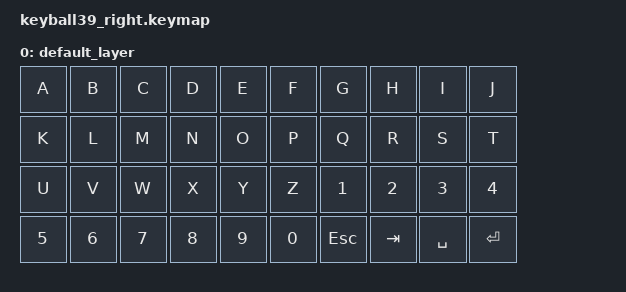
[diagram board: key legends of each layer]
// zmk/app/boards/shields/keyball39/keyball39.keymap
/ {
    keymap {
        compatible = "zmk,keymap";

        default_layer {
            bindings = <
                &kp A  &kp B  &kp C  &kp D  &kp E  &kp F  &kp G  &kp H  &kp I  &kp J
                &kp K  &kp L  &kp M  &kp N  &kp O  &kp P  &kp Q  &kp R  &kp S  &kp T
                &kp U  &kp V  &kp W  &kp X  &kp Y  &kp Z  &kp 1  &kp 2  &kp 3  &kp 4
                &kp 5  &kp 6  &kp 7  &kp 8  &kp 9  &kp 0  &kp ESC &kp TAB &kp SPACE &kp ENTER
            >;
        };
    };
};
